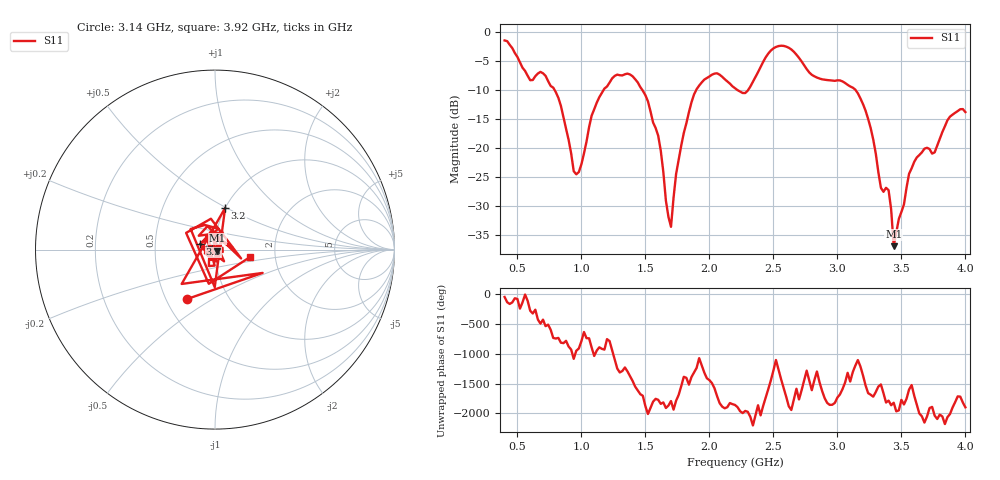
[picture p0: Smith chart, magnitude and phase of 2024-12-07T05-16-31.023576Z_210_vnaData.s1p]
!Created with skrf (http://scikit-rf.org).
# Hz S RI R 50.0
!freq ReS11 ImS11
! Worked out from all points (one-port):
!   181 points, 400 MHz to 4 GHz, reference 50 ohm
!   lowest |S11| = -36.9 dB at 3.44 GHz (marker M1), VSWR 1.03, Z = 51.3 - j0.549 ohm
!   |S11| at or under -10 dB: 790 MHz to 1.174 GHz (383.9 MHz wide, 39.1 % of centre); 1.475 GHz to 1.897 GHz (422.2 MHz wide, 25 % of centre); 3.141 GHz to end of sweep (the widest 3 of 4)
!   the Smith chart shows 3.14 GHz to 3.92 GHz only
!   S11 on the Smith chart (normalised r, x): 3.14 GHz: 0.63, -0.39; 3.2 GHz: 1.00, +0.49; 3.3 GHz: 0.85, +0.06; 3.92 GHz: 1.48, -0.13
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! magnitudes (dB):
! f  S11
! 400 MHz  -1.5
! 600 MHz  -8.3
! 720 MHz  -7.6
! 860 MHz  -14.8
! 960 MHz  -24.6
! 1.12 GHz  -12.2
! 1.3 GHz  -7.5
! 1.52 GHz  -12.0
! 1.6 GHz  -17.9
! 1.7 GHz  -33.6
! 1.76 GHz  -22.1
! 1.92 GHz  -9.3
! 2.06 GHz  -7.1
! 2.2 GHz  -9.7
! 2.3 GHz  -10.1
! 2.5 GHz  -2.8
! 2.66 GHz  -3.4
! 3.1 GHz  -9.4
! 3.14 GHz  -10.0
! 3.2 GHz  -12.5
! 3.3 GHz  -21.0
! 3.34 GHz  -26.9
! 3.4 GHz  -27.3
! 3.44 GHz  -36.9
! 3.56 GHz  -24.5
! 3.76 GHz  -20.8
! 3.92 GHz  -13.9
! 4 GHz  -13.8
